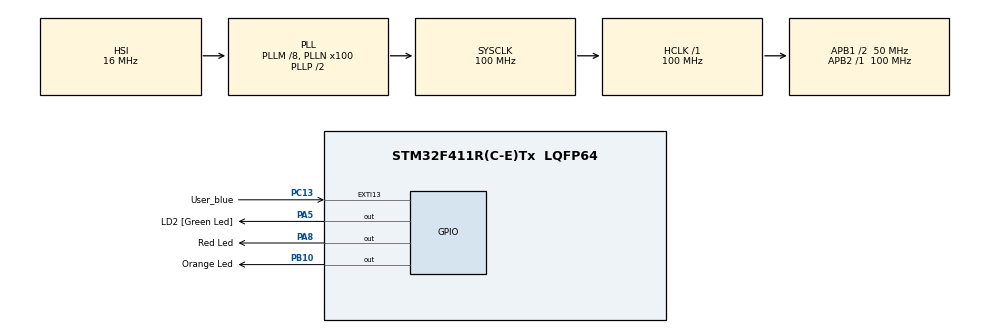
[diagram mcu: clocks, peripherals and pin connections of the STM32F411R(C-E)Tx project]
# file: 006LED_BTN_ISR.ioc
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Mcu.Family=STM32F4
Mcu.Name=STM32F411R(C-E)Tx
Mcu.Package=LQFP64
NVIC.EXTI15_10_IRQn=true\:6\:0\:true\:false\:true\:true\:true\:true
NVIC.PriorityGroup=NVIC_PRIORITYGROUP_4
NVIC.TIM3_IRQn=true\:15\:0\:false\:false\:true\:false\:true\:true
NVIC.TimeBase=TIM3_IRQn
NVIC.TimeBaseIP=TIM3
PA13.GPIO_Label=TMS
PA13.Signal=SYS_JTMS-SWDIO
PA14.GPIO_Label=TCK
PA14.Signal=SYS_JTCK-SWCLK
PA2.GPIO_Label=USART_TX
PA2.Signal=USART2_TX
PA3.GPIO_Label=USART_RX
PA3.Signal=USART2_RX
PA5.GPIO_Label=LD2 [Green Led]
PA5.Signal=GPIO_Output
PA8.GPIO_Label=Red Led
PA8.Signal=GPIO_Output
PB10.GPIO_Label=Orange Led
PB10.Signal=GPIO_Output
PB3.GPIO_Label=SWO
PB3.Signal=SYS_JTDO-SWO
PC13-ANTI_TAMP.GPIO_Label=User_blue
PC13-ANTI_TAMP.GPIO_ModeDefaultEXTI=GPIO_MODE_IT_FALLING
PC13-ANTI_TAMP.Signal=GPXTI13
PC14-OSC32_IN.Signal=RCC_OSC32_IN
PC15-OSC32_OUT.Signal=RCC_OSC32_OUT
PH0\ -\ OSC_IN.Signal=RCC_OSC_IN
PH1\ -\ OSC_OUT.Signal=RCC_OSC_OUT
ProjectManager.HeapSize=0x200
ProjectManager.StackSize=0x400
ProjectManager.TargetToolchain=STM32CubeIDE
RCC.48MHZClocksFreq_Value=50000000
RCC.AHBFreq_Value=100000000
RCC.APB1CLKDivider=RCC_HCLK_DIV2
RCC.APB1Freq_Value=50000000
RCC.APB1TimFreq_Value=100000000
RCC.APB2Freq_Value=100000000
RCC.APB2TimFreq_Value=100000000
RCC.CortexFreq_Value=100000000
RCC.FLatency-AdvancedSettings=FLASH_LATENCY_3
RCC.HCLKFreq_Value=100000000
RCC.HSE_VALUE=8000000
RCC.HSI_VALUE=16000000
RCC.LSE_VALUE=32768
RCC.PLLM=8
RCC.PLLN=100
RCC.SYSCLKFreq_VALUE=100000000
RCC.SYSCLKSource=RCC_SYSCLKSOURCE_PLLCLK
RCC.VCOOutputFreq_Value=200000000
VP_SYS_VS_tim3.Mode=TIM3
board=NUCLEO-F411RE

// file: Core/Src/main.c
/* USER CODE BEGIN Header */
/**
 ******************************************************************************
 * @file           : main.c
 * @brief          : Main program body
 ******************************************************************************
 * @attention
 *
 * Copyright (c) 2024 STMicroelectronics.
 * All rights reserved.
 *
 * This software is licensed under terms that can be found in the LICENSE file
 * in the root directory of this software component.
 * If no LICENSE file comes with this software, it is provided AS-IS.
 *
 ******************************************************************************
 */
/* USER CODE END Header */
#include "main.h"

/* USER CODE BEGIN Includes */
#include "SEGGER_SYSVIEW.h"
#include "FreeRTOS.h"
#include "task.h"
#include <stdio.h>
#include <stdbool.h>

/* USER CODE END Includes */

/* USER CODE BEGIN PV */

#define DWT_CTRL (*(volatile uint32_t *)0xE0001000)

/* USER CODE END PV */

void SystemClock_Config(void);
static void MX_GPIO_Init(void);
/* USER CODE BEGIN PFP */
void led_red_handler(void *parameters);
void led_orange_handler(void *parameters);
void led_green_handler(void *parameters);

extern void SEGGER_UART_init(uint32_t);

TaskHandle_t green_handle;
TaskHandle_t red_handle;
TaskHandle_t orange_handle;

bool reset = 0;

TaskHandle_t volatile next_task_handle = NULL;

/* USER CODE END PFP */

int main(void) {
	/* USER CODE BEGIN 1 */

	BaseType_t status;

	/* USER CODE END 1 */

	/* MCU Configuration--------------------------------------------------------*/

	/* Reset of all peripherals, Initializes the Flash interface and the Systick. */
	HAL_Init();

	/* Configure the system clock */
	SystemClock_Config();

	/* Initialize all configured peripherals */
	MX_GPIO_Init();
	/* USER CODE BEGIN 2 */

	//Enale the CYCNT counter
	DWT_CTRL |= (1 << 0);

	SEGGER_UART_init(500000);

	SEGGER_SYSVIEW_Conf();

	//SEGGER_SYSVIEW_Start();

	status = xTaskCreate(led_green_handler, "led_green_handler_task", 200,
	NULL, 3, &green_handle);

	configASSERT(status == pdPASS);

	next_task_handle = green_handle;

	status = xTaskCreate(led_red_handler, "led_red_handler_task", 200,
	NULL, 2, &red_handle);

	configASSERT(status == pdPASS);

	status = xTaskCreate(led_orange_handler, "led_orange_handler_task", 200,
	NULL, 1, &orange_handle);

	configASSERT(status == pdPASS);

	//start the freeRTOS scheduler
	vTaskStartScheduler();

	//if the control stop here is not enough FreRTOOS heap.

	/* USER CODE END 2 */

	/* Infinite loop */
	while (1) {

	}
}

void SystemClock_Config(void) {
	RCC_OscInitTypeDef RCC_OscInitStruct = { 0 };
	RCC_ClkInitTypeDef RCC_ClkInitStruct = { 0 };

	/** Configure the main internal regulator output voltage
	 */
	__HAL_RCC_PWR_CLK_ENABLE();
	__HAL_PWR_VOLTAGESCALING_CONFIG(PWR_REGULATOR_VOLTAGE_SCALE1);

	/** Initializes the RCC Oscillators according to the specified parameters
	 * in the RCC_OscInitTypeDef structure.
	 */
	RCC_OscInitStruct.OscillatorType = RCC_OSCILLATORTYPE_HSI;
	RCC_OscInitStruct.HSIState = RCC_HSI_ON;
	RCC_OscInitStruct.HSICalibrationValue = RCC_HSICALIBRATION_DEFAULT;
	RCC_OscInitStruct.PLL.PLLState = RCC_PLL_ON;
	RCC_OscInitStruct.PLL.PLLSource = RCC_PLLSOURCE_HSI;
	RCC_OscInitStruct.PLL.PLLM = 8;
	RCC_OscInitStruct.PLL.PLLN = 100;
	RCC_OscInitStruct.PLL.PLLP = RCC_PLLP_DIV2;
	RCC_OscInitStruct.PLL.PLLQ = 4;
	if (HAL_RCC_OscConfig(&RCC_OscInitStruct) != HAL_OK) {
		Error_Handler();
	}

	/** Initializes the CPU, AHB and APB buses clocks
	 */
	RCC_ClkInitStruct.ClockType = RCC_CLOCKTYPE_HCLK | RCC_CLOCKTYPE_SYSCLK
			| RCC_CLOCKTYPE_PCLK1 | RCC_CLOCKTYPE_PCLK2;
	RCC_ClkInitStruct.SYSCLKSource = RCC_SYSCLKSOURCE_PLLCLK;
	RCC_ClkInitStruct.AHBCLKDivider = RCC_SYSCLK_DIV1;
	RCC_ClkInitStruct.APB1CLKDivider = RCC_HCLK_DIV2;
	RCC_ClkInitStruct.APB2CLKDivider = RCC_HCLK_DIV1;

	if (HAL_RCC_ClockConfig(&RCC_ClkInitStruct, FLASH_LATENCY_3) != HAL_OK) {
		Error_Handler();
	}
}

static void MX_GPIO_Init(void) {
	GPIO_InitTypeDef GPIO_InitStruct = { 0 };

	/* GPIO Ports Clock Enable */
	__HAL_RCC_GPIOC_CLK_ENABLE();
	__HAL_RCC_GPIOH_CLK_ENABLE();
	__HAL_RCC_GPIOA_CLK_ENABLE();
	__HAL_RCC_GPIOB_CLK_ENABLE();

	/*Configure GPIO pin Output Level */
	HAL_GPIO_WritePin(GPIOA, LD2_Pin | Red_Led_Pin, GPIO_PIN_RESET);

	/*Configure GPIO pin Output Level */
	HAL_GPIO_WritePin(Orange_Led_GPIO_Port, Orange_Led_Pin, GPIO_PIN_RESET);

	/*Configure GPIO pin : User_blue_Pin */
	GPIO_InitStruct.Pin = User_blue_Pin;
	GPIO_InitStruct.Mode = GPIO_MODE_IT_FALLING;
	GPIO_InitStruct.Pull = GPIO_NOPULL;
	HAL_GPIO_Init(User_blue_GPIO_Port, &GPIO_InitStruct);

	/*Configure GPIO pins : USART_TX_Pin USART_RX_Pin */
	GPIO_InitStruct.Pin = USART_TX_Pin | USART_RX_Pin;
	GPIO_InitStruct.Mode = GPIO_MODE_AF_PP;
	GPIO_InitStruct.Pull = GPIO_NOPULL;
	GPIO_InitStruct.Speed = GPIO_SPEED_FREQ_VERY_HIGH;
	GPIO_InitStruct.Alternate = GPIO_AF7_USART2;
	HAL_GPIO_Init(GPIOA, &GPIO_InitStruct);

	/*Configure GPIO pins : LD2_Pin Red_Led_Pin */
	GPIO_InitStruct.Pin = LD2_Pin | Red_Led_Pin;
	GPIO_InitStruct.Mode = GPIO_MODE_OUTPUT_PP;
	GPIO_InitStruct.Pull = GPIO_NOPULL;
	GPIO_InitStruct.Speed = GPIO_SPEED_FREQ_LOW;
	HAL_GPIO_Init(GPIOA, &GPIO_InitStruct);

	/*Configure GPIO pin : Orange_Led_Pin */
	GPIO_InitStruct.Pin = Orange_Led_Pin;
	GPIO_InitStruct.Mode = GPIO_MODE_OUTPUT_PP;
	GPIO_InitStruct.Pull = GPIO_NOPULL;
	GPIO_InitStruct.Speed = GPIO_SPEED_FREQ_LOW;
	HAL_GPIO_Init(Orange_Led_GPIO_Port, &GPIO_InitStruct);

	/* EXTI interrupt init*/
	HAL_NVIC_SetPriority(EXTI15_10_IRQn, 6, 0);
	HAL_NVIC_EnableIRQ(EXTI15_10_IRQn);

}

/* USER CODE BEGIN 4 */

void led_green_handler(void *parameters) {

	BaseType_t status;

	while (1) {
		SEGGER_SYSVIEW_PrintfTarget("Toggling Green");
		HAL_GPIO_TogglePin(GPIOA, LD2_Pin);
		status = xTaskNotifyWait(0, 0, NULL, pdMS_TO_TICKS(1000));
		if (status == pdTRUE) {
			portENTER_CRITICAL();
			next_task_handle = red_handle;
			HAL_GPIO_WritePin(GPIOA, LD2_Pin, GPIO_PIN_SET);
			SEGGER_SYSVIEW_PrintfTarget("Suspend green Task");
			portEXIT_CRITICAL();
			vTaskSuspend(NULL);
		}
	}

}

void led_red_handler(void *parameters) {

	BaseType_t status;

	while (1) {
		SEGGER_SYSVIEW_PrintfTarget("Toggling red");
		HAL_GPIO_TogglePin(GPIOA, Red_Led_Pin);
		status = xTaskNotifyWait(0, 0, NULL, pdMS_TO_TICKS(800));
		if (status == pdTRUE) {
			portENTER_CRITICAL();
			next_task_handle = orange_handle;
			HAL_GPIO_WritePin(GPIOA, Red_Led_Pin, GPIO_PIN_SET);
			SEGGER_SYSVIEW_PrintfTarget("Suspend red Task");
			portEXIT_CRITICAL();
			vTaskSuspend(NULL);
		}
	}

}

void led_orange_handler(void *parameters) {

	BaseType_t status;

	while (1) {
		SEGGER_SYSVIEW_PrintfTarget("Toggling Orange");
		HAL_GPIO_TogglePin(GPIOB, Orange_Led_Pin);
		status = xTaskNotifyWait(0, 0, NULL, pdMS_TO_TICKS(400));
		if (status == pdTRUE) {
			portENTER_CRITICAL();
			reset = 1;
			HAL_GPIO_WritePin(GPIOA, Orange_Led_Pin, GPIO_PIN_SET);
			SEGGER_SYSVIEW_PrintfTarget("Suspend orange Task");
			portEXIT_CRITICAL();
			vTaskSuspend(NULL);
		}

	}
}

void HAL_GPIO_EXTI_Callback(uint16_t GPIO_Pin) {
	if (GPIO_Pin == User_blue_Pin) {
		traceISR_ENTER();
		SEGGER_SYSVIEW_PrintfTarget("Button notification line 13");
		if (!reset) {
			BaseType_t xHigherPriorityTaskWoken;
			xTaskNotifyFromISR(next_task_handle, 0, eNoAction, &xHigherPriorityTaskWoken);
			//to launch the schuduler han will choise the unblock task with the highest priotity
			portYIELD_FROM_ISR(xHigherPriorityTaskWoken);
		} else {
			reset = 0;
			UBaseType_t uxSavedInterruptStatus;
			uxSavedInterruptStatus = taskENTER_CRITICAL_FROM_ISR();
			next_task_handle = green_handle;
			xTaskResumeFromISR(green_handle);
			xTaskResumeFromISR(red_handle);
			xTaskResumeFromISR(orange_handle);
			taskEXIT_CRITICAL_FROM_ISR(uxSavedInterruptStatus);
		}
		traceISR_EXIT();
	}
}

/* USER CODE END 4 */

void HAL_TIM_PeriodElapsedCallback(TIM_HandleTypeDef *htim) {
	if (htim->Instance == TIM3) {
		HAL_IncTick();
	}
}

void Error_Handler(void) {
	__disable_irq();
	while (1) {
	}
}
